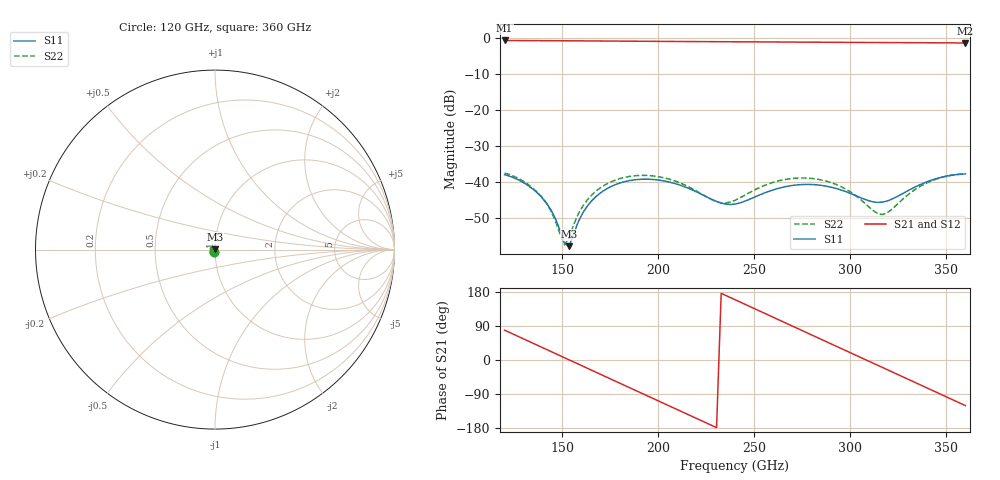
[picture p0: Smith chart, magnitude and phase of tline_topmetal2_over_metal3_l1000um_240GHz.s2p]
#  GHZ S DB R 50
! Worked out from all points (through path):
!   101 points, 120 GHz to 360 GHz, reference 50 ohm
!   highest |S21| = -0.74 dB at 120 GHz (marker M1); lowest = -1.4 dB at 360 GHz (marker M2)
!   group delay of S21, straight-line fit = 6.47 ps
!   lowest |S11| = -57.7 dB at 153.6 GHz (marker M3), VSWR 1.00, Z = 50.1 + j0.107 ohm
!   |S11| at or under -10 dB: start of sweep to end of sweep
!   |S22| runs from -57.3 to -37.4 dB; largest |S21 - S12| = 1e-13
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120  -37.90 -111.1  -0.74 78.7  -0.74 78.7  -37.44 -110.6
139.2  -44.08 -167.7  -0.79 34.0  -0.79 34.0  -44.00 -167.4
146.4  -50.00 160.9  -0.81 17.2  -0.81 17.2  -50.60 158.3
151.2  -56.99 109.6  -0.83 6.0  -0.83 6.0  -57.34 90.0
153.6  -57.70 55.1  -0.83 0.4  -0.83 0.4  -55.42 38.2
160.8  -48.43 -17.8  -0.86 -16.4  -0.86 -16.4  -46.53 -18.0
170.4  -42.75 -55.2  -0.89 -38.8  -0.89 -38.8  -41.34 -52.9
182.4  -39.85 -94.3  -0.93 -66.8  -0.93 -66.8  -38.65 -90.7
192  -39.15 -125.2  -0.96 -89.2  -0.96 -89.2  -38.09 -120.6
201.6  -39.50 -157.1  -0.99 -111.5  -0.99 -111.5  -38.60 -151.6
220.8  -42.88 129.2  -1.05 -156.2  -1.05 -156.2  -42.69 134.2
232.8  -45.77 63.8  -1.08 175.9  -1.08 175.9  -45.71 61.2
240  -46.04 16.0  -1.10 159.1  -1.10 159.1  -45.00 10.6
261.6  -41.83 -95.0  -1.16 108.8  -1.16 108.8  -39.76 -89.6
271.2  -40.80 -132.2  -1.19 86.5  -1.19 86.5  -38.89 -123.1
280.8  -40.65 -168.0  -1.22 64.1  -1.22 64.1  -38.99 -155.4
292.8  -41.74 145.3  -1.25 36.2  -1.25 36.2  -40.63 162.9
302.4  -43.60 101.6  -1.28 13.8  -1.28 13.8  -43.52 124.1
314.4  -45.58 28.3  -1.31 -14.1  -1.31 -14.1  -48.68 44.6
321.6  -44.70 -20.4  -1.33 -30.9  -1.33 -30.9  -47.54 -21.9
340.8  -39.71 -112.4  -1.38 -75.6  -1.38 -75.6  -39.96 -116.1
360  -37.69 -178.6  -1.43 -120.3  -1.43 -120.3  -37.70 -179.8
